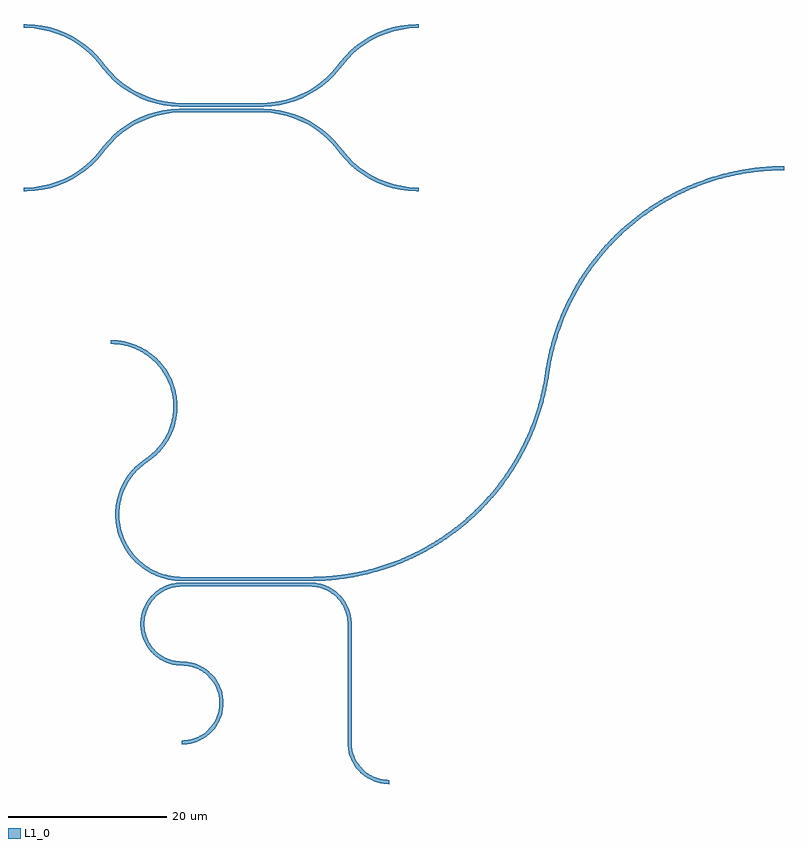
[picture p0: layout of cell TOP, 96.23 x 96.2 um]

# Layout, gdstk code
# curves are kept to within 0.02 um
from math import pi, radians
import gdstk
lib = gdstk.Library(unit=1e-6, precision=1e-09)
def P(c, l, *ps):  # polygons
    for p in ps: c.add(gdstk.Polygon(p, *l))
L1_0 = (1, 0)

input1 = lib.new_cell('input1')
input1.add(gdstk.FlexPath([(0,0),(0.068,0),(0.271,0.007),(0.473,0.022),(0.675,0.045),(0.876,0.077),(1.075,0.116),(1.272,0.164),(1.468,0.22),(1.661,0.283),(1.851,0.355),(2.038,0.434),(2.222,0.52),(2.402,0.614),(2.578,0.715),(2.75,0.824),(2.917,0.939),(3.08,1.061),(3.237,1.189),(3.389,1.323),(3.536,1.464),(3.677,1.611),(3.811,1.763),(3.939,1.92),(4.061,2.083),(4.176,2.25),(4.285,2.422),(4.386,2.598),(4.48,2.778),(4.566,2.962),(4.645,3.149),(4.717,3.339),(4.78,3.532),(4.836,3.728),(4.884,3.925),(4.923,4.124),(4.955,4.325),(4.978,4.527),(4.993,4.729),(5,4.932),(5,5),(5,5.068),(4.993,5.271),(4.978,5.473),(4.955,5.675),(4.923,5.876),(4.884,6.075),(4.836,6.272),(4.78,6.468),(4.717,6.661),(4.645,6.851),(4.566,7.038),(4.48,7.222),(4.386,7.402),(4.285,7.578),(4.176,7.75),(4.061,7.917),(3.939,8.08),(3.811,8.237),(3.677,8.389),(3.536,8.536),(3.389,8.677),(3.237,8.811),(3.08,8.939),(2.917,9.061),(2.75,9.176),(2.578,9.285),(2.402,9.386),(2.222,9.48),(2.038,9.566),(1.851,9.645),(1.661,9.717),(1.468,9.78),(1.272,9.836),(1.075,9.884),(0.876,9.923),(0.675,9.955),(0.473,9.978),(0.271,9.993),(0.068,10),(0,10),(-0.068,10),(-0.271,10.007),(-0.473,10.022),(-0.675,10.045),(-0.876,10.077),(-1.075,10.116),(-1.272,10.164),(-1.468,10.22),(-1.661,10.283),(-1.851,10.355),(-2.038,10.434),(-2.222,10.52),(-2.402,10.614),(-2.578,10.715),(-2.75,10.824),(-2.917,10.939),(-3.08,11.061),(-3.237,11.189),(-3.389,11.323),(-3.536,11.464),(-3.677,11.611),(-3.811,11.763),(-3.939,11.92),(-4.061,12.083),(-4.176,12.25),(-4.285,12.422),(-4.386,12.598),(-4.48,12.778),(-4.566,12.962),(-4.645,13.149),(-4.717,13.339),(-4.78,13.532),(-4.836,13.728),(-4.884,13.925),(-4.923,14.124),(-4.955,14.325),(-4.978,14.527),(-4.993,14.729),(-5,14.932),(-5,15),(-5,15.068),(-4.993,15.271),(-4.978,15.473),(-4.955,15.675),(-4.923,15.876),(-4.884,16.075),(-4.836,16.272),(-4.78,16.468),(-4.717,16.661),(-4.645,16.851),(-4.566,17.038),(-4.48,17.222),(-4.386,17.402),(-4.285,17.578),(-4.176,17.75),(-4.061,17.917),(-3.939,18.08),(-3.811,18.237),(-3.677,18.389),(-3.536,18.536),(-3.389,18.677),(-3.237,18.811),(-3.08,18.939),(-2.917,19.061),(-2.75,19.176),(-2.578,19.285),(-2.402,19.386),(-2.222,19.48),(-2.038,19.566),(-1.851,19.645),(-1.661,19.717),(-1.468,19.78),(-1.272,19.836),(-1.075,19.884),(-0.876,19.923),(-0.675,19.955),(-0.473,19.978),(-0.271,19.993),(-0.068,20),(0,20)], 0.5, ends="flush", simple_path=True, layer=1, datatype=0))  # L1_0

input2 = lib.new_cell('input2')
input2.add(gdstk.FlexPath([(-9,50.7),(-8.933,50.7),(-8.731,50.696),(-8.529,50.687),(-8.328,50.673),(-8.127,50.654),(-7.927,50.63),(-7.727,50.601),(-7.528,50.567),(-7.33,50.528),(-7.133,50.484),(-6.937,50.436),(-6.743,50.383),(-6.55,50.324),(-6.358,50.262),(-6.168,50.194),(-5.979,50.122),(-5.793,50.045),(-5.608,49.963),(-5.426,49.877),(-5.245,49.787),(-5.067,49.692),(-4.892,49.593),(-4.718,49.489),(-4.548,49.382),(-4.38,49.27),(-4.215,49.154),(-4.053,49.033),(-3.894,48.909),(-3.738,48.781),(-3.585,48.65),(-3.435,48.514),(-3.289,48.375),(-3.147,48.232),(-3.007,48.086),(-2.872,47.936),(-2.74,47.784),(-2.613,47.627),(-2.489,47.468),(-2.369,47.306),(-2.253,47.141),(-2.141,46.973),(-2.033,46.802),(-1.93,46.629),(-1.83,46.453),(-1.736,46.275),(-1.645,46.095),(-1.559,45.912),(-1.478,45.728),(-1.401,45.541),(-1.329,45.353),(-1.262,45.162),(-1.199,44.971),(-1.141,44.777),(-1.088,44.583),(-1.04,44.387),(-0.996,44.19),(-0.957,43.992),(-0.924,43.793),(-0.895,43.593),(-0.871,43.393),(-0.852,43.192),(-0.838,42.991),(-0.829,42.789),(-0.825,42.587),(-0.826,42.385),(-0.832,42.184),(-0.843,41.982),(-0.859,41.781),(-0.879,41.58),(-0.905,41.38),(-0.936,41.181),(-0.972,40.982),(-1.012,40.785),(-1.057,40.588),(-1.108,40.393),(-1.163,40.199),(-1.223,40.006),(-1.287,39.815),(-1.356,39.625),(-1.43,39.437),(-1.509,39.251),(-1.592,39.068),(-1.679,38.886),(-1.771,38.706),(-1.868,38.529),(-1.969,38.354),(-2.074,38.182),(-2.183,38.012),(-2.296,37.845),(-2.414,37.681),(-2.536,37.52),(-2.661,37.362),(-2.79,37.208),(-2.923,37.056),(-3.06,36.908),(-3.201,36.763),(-3.345,36.621),(-3.492,36.484),(-3.643,36.349),(-3.797,36.219),(-3.954,36.093),(-4.114,35.97),(-4.278,35.852),(-4.444,35.737),(-4.5,35.7),(-4.556,35.663),(-4.722,35.548),(-4.886,35.43),(-5.046,35.307),(-5.203,35.181),(-5.357,35.051),(-5.508,34.916),(-5.655,34.779),(-5.799,34.637),(-5.94,34.492),(-6.077,34.344),(-6.21,34.192),(-6.339,34.038),(-6.464,33.88),(-6.586,33.719),(-6.704,33.555),(-6.817,33.388),(-6.926,33.218),(-7.031,33.046),(-7.132,32.871),(-7.229,32.694),(-7.321,32.514),(-7.408,32.332),(-7.491,32.149),(-7.57,31.963),(-7.644,31.775),(-7.713,31.585),(-7.777,31.394),(-7.837,31.201),(-7.892,31.007),(-7.943,30.812),(-7.988,30.615),(-8.028,30.418),(-8.064,30.219),(-8.095,30.02),(-8.121,29.82),(-8.141,29.619),(-8.157,29.418),(-8.168,29.216),(-8.174,29.015),(-8.175,28.813),(-8.171,28.611),(-8.162,28.409),(-8.148,28.208),(-8.129,28.007),(-8.105,27.807),(-8.076,27.607),(-8.043,27.408),(-8.004,27.21),(-7.96,27.013),(-7.912,26.817),(-7.859,26.623),(-7.801,26.429),(-7.738,26.238),(-7.671,26.047),(-7.599,25.859),(-7.522,25.672),(-7.441,25.488),(-7.355,25.305),(-7.264,25.125),(-7.17,24.947),(-7.07,24.771),(-6.967,24.598),(-6.859,24.427),(-6.747,24.259),(-6.631,24.094),(-6.511,23.932),(-6.387,23.773),(-6.26,23.616),(-6.128,23.464),(-5.993,23.314),(-5.853,23.168),(-5.711,23.025),(-5.565,22.886),(-5.415,22.75),(-5.262,22.619),(-5.106,22.491),(-4.947,22.367),(-4.785,22.246),(-4.62,22.13),(-4.452,22.018),(-4.282,21.911),(-4.108,21.807),(-3.933,21.708),(-3.755,21.613),(-3.574,21.523),(-3.392,21.437),(-3.207,21.355),(-3.021,21.278),(-2.832,21.206),(-2.642,21.138),(-2.45,21.076),(-2.257,21.017),(-2.063,20.964),(-1.867,20.916),(-1.67,20.872),(-1.472,20.833),(-1.273,20.799),(-1.073,20.77),(-0.873,20.746),(-0.672,20.727),(-0.471,20.713),(-0.269,20.704),(-0.067,20.7),(0,20.7)], 0.5, ends="flush", simple_path=True, layer=1, datatype=0))  # L1_0

output1 = lib.new_cell('output1')
output1.add(gdstk.FlexPath([(26.23,-5),(26.162,-5),(25.959,-4.993),(25.757,-4.978),(25.555,-4.955),(25.354,-4.923),(25.155,-4.884),(24.958,-4.836),(24.762,-4.78),(24.569,-4.717),(24.379,-4.645),(24.192,-4.566),(24.008,-4.48),(23.828,-4.386),(23.652,-4.285),(23.48,-4.176),(23.313,-4.061),(23.15,-3.939),(22.993,-3.811),(22.841,-3.677),(22.694,-3.536),(22.553,-3.389),(22.419,-3.237),(22.291,-3.08),(22.169,-2.917),(22.054,-2.75),(21.945,-2.578),(21.844,-2.402),(21.75,-2.222),(21.664,-2.038),(21.585,-1.851),(21.513,-1.661),(21.45,-1.468),(21.394,-1.272),(21.346,-1.075),(21.307,-0.876),(21.275,-0.675),(21.252,-0.473),(21.237,-0.271),(21.23,-0.068),(21.23,0),(21.23,15),(21.23,15.068),(21.223,15.271),(21.208,15.473),(21.185,15.675),(21.153,15.876),(21.114,16.075),(21.066,16.272),(21.01,16.468),(20.947,16.661),(20.875,16.851),(20.796,17.038),(20.71,17.222),(20.616,17.402),(20.515,17.578),(20.406,17.75),(20.291,17.917),(20.169,18.08),(20.041,18.237),(19.907,18.389),(19.766,18.536),(19.619,18.677),(19.467,18.811),(19.31,18.939),(19.147,19.061),(18.98,19.176),(18.808,19.285),(18.632,19.386),(18.452,19.48),(18.268,19.566),(18.081,19.645),(17.891,19.717),(17.698,19.78),(17.502,19.836),(17.305,19.884),(17.106,19.923),(16.905,19.955),(16.703,19.978),(16.501,19.993),(16.298,20),(16.23,20)], 0.5, ends="flush", simple_path=True, layer=1, datatype=0))  # L1_0

output2 = lib.new_cell('output2')
output2.add(gdstk.FlexPath([(16.23,20.7),(16.297,20.7),(16.498,20.701),(16.698,20.704),(16.899,20.707),(17.1,20.712),(17.3,20.719),(17.501,20.727),(17.701,20.736),(17.902,20.746),(18.102,20.758),(18.302,20.771),(18.503,20.785),(18.703,20.801),(18.903,20.818),(19.102,20.836),(19.302,20.856),(19.502,20.877),(19.701,20.899),(19.901,20.923),(20.1,20.948),(20.299,20.974),(20.497,21.002),(20.696,21.031),(20.894,21.061),(21.093,21.093),(21.291,21.125),(21.488,21.16),(21.686,21.195),(21.883,21.232),(22.08,21.27),(22.277,21.309),(22.474,21.35),(22.67,21.392),(22.866,21.435),(23.062,21.48),(23.257,21.526),(23.452,21.573),(23.647,21.621),(23.841,21.671),(24.035,21.722),(24.229,21.775),(24.423,21.828),(24.616,21.883),(24.808,21.939),(25.001,21.997),(25.192,22.055),(25.384,22.115),(25.575,22.177),(25.766,22.239),(25.956,22.303),(26.146,22.368),(26.335,22.434),(26.524,22.502),(26.713,22.571),(26.901,22.641),(27.089,22.712),(27.276,22.784),(27.463,22.858),(27.649,22.933),(27.834,23.009),(28.019,23.087),(28.204,23.166),(28.388,23.246),(28.572,23.327),(28.755,23.409),(28.937,23.493),(29.119,23.577),(29.301,23.663),(29.481,23.75),(29.662,23.839),(29.841,23.928),(30.02,24.019),(30.199,24.111),(30.377,24.204),(30.554,24.298),(30.73,24.394),(30.906,24.49),(31.081,24.588),(31.256,24.687),(31.43,24.787),(31.603,24.888),(31.776,24.991),(31.948,25.094),(32.119,25.199),(32.29,25.305),(32.46,25.412),(32.629,25.52),(32.797,25.629),(32.965,25.739),(33.132,25.85),(33.298,25.963),(33.464,26.076),(33.628,26.191),(33.792,26.307),(33.955,26.424),(34.118,26.542),(34.279,26.661),(34.44,26.781),(34.6,26.902),(34.76,27.024),(34.918,27.147),(35.076,27.272),(35.232,27.397),(35.388,27.523),(35.543,27.651),(35.698,27.779),(35.851,27.908),(36.004,28.039),(36.155,28.17),(36.306,28.303),(36.456,28.436),(36.605,28.571),(36.753,28.706),(36.9,28.842),(37.047,28.98),(37.192,29.118),(37.337,29.257),(37.48,29.398),(37.623,29.539),(37.764,29.681),(37.905,29.824),(38.045,29.968),(38.184,30.113),(38.322,30.259),(38.459,30.406),(38.595,30.553),(38.73,30.702),(38.864,30.851),(38.997,31.002),(39.129,31.153),(39.259,31.305),(39.389,31.458),(39.518,31.612),(39.646,31.766),(39.773,31.922),(39.899,32.078),(40.024,32.235),(40.148,32.393),(40.271,32.552),(40.392,32.712),(40.513,32.872),(40.632,33.033),(40.751,33.195),(40.868,33.358),(40.985,33.521),(41.1,33.686),(41.214,33.851),(41.327,34.017),(41.439,34.183),(41.55,34.351),(41.66,34.519),(41.768,34.687),(41.876,34.857),(41.982,35.027),(42.088,35.198),(42.192,35.369),(42.295,35.542),(42.396,35.715),(42.497,35.888),(42.597,36.063),(42.695,36.237),(42.792,36.413),(42.888,36.589),(42.983,36.766),(43.077,36.944),(43.17,37.122),(43.261,37.3),(43.351,37.48),(43.44,37.66),(43.528,37.84),(43.614,38.021),(43.7,38.203),(43.784,38.385),(43.867,38.568),(43.949,38.751),(44.029,38.935),(44.109,39.119),(44.187,39.304),(44.264,39.489),(44.339,39.675),(44.414,39.862),(44.487,40.049),(44.559,40.236),(44.63,40.424),(44.699,40.612),(44.767,40.801),(44.834,40.99),(44.9,41.18),(44.964,41.37),(45.028,41.56),(45.09,41.751),(45.15,41.942),(45.21,42.134),(45.268,42.326),(45.325,42.519),(45.38,42.712),(45.435,42.905),(45.488,43.098),(45.539,43.292),(45.59,43.487),(45.639,43.681),(45.687,43.876),(45.733,44.071),(45.779,44.267),(45.823,44.463),(45.865,44.659),(45.907,44.855),(45.947,45.052),(45.986,45.249),(46.023,45.446),(46.059,45.643),(46.094,45.841),(46.128,46.039),(46.16,46.237),(46.191,46.435),(46.22,46.634),(46.23,46.7),(46.24,46.766),(46.269,46.965),(46.3,47.163),(46.332,47.361),(46.366,47.559),(46.401,47.757),(46.437,47.954),(46.474,48.151),(46.513,48.348),(46.553,48.545),(46.595,48.741),(46.637,48.937),(46.681,49.133),(46.727,49.329),(46.773,49.524),(46.821,49.719),(46.87,49.913),(46.921,50.108),(46.972,50.302),(47.025,50.495),(47.08,50.688),(47.135,50.881),(47.192,51.074),(47.25,51.266),(47.31,51.458),(47.37,51.649),(47.432,51.84),(47.496,52.03),(47.56,52.22),(47.626,52.41),(47.693,52.599),(47.761,52.788),(47.83,52.976),(47.901,53.164),(47.973,53.351),(48.046,53.538),(48.121,53.725),(48.196,53.911),(48.273,54.096),(48.351,54.281),(48.431,54.465),(48.511,54.649),(48.593,54.832),(48.676,55.015),(48.76,55.197),(48.846,55.379),(48.932,55.56),(49.02,55.74),(49.109,55.92),(49.199,56.1),(49.29,56.278),(49.383,56.456),(49.477,56.634),(49.572,56.811),(49.668,56.987),(49.765,57.163),(49.863,57.337),(49.963,57.512),(50.064,57.685),(50.165,57.858),(50.268,58.031),(50.372,58.202),(50.478,58.373),(50.584,58.543),(50.692,58.713),(50.8,58.881),(50.91,59.049),(51.021,59.217),(51.133,59.383),(51.246,59.549),(51.36,59.714),(51.475,59.879),(51.592,60.042),(51.709,60.205),(51.828,60.367),(51.947,60.528),(52.068,60.688),(52.189,60.848),(52.312,61.007),(52.436,61.165),(52.561,61.322),(52.687,61.478),(52.814,61.634),(52.942,61.788),(53.071,61.942),(53.201,62.095),(53.331,62.247),(53.463,62.398),(53.596,62.549),(53.73,62.698),(53.865,62.847),(54.001,62.994),(54.138,63.141),(54.276,63.287),(54.415,63.432),(54.555,63.576),(54.696,63.719),(54.837,63.861),(54.98,64.002),(55.123,64.143),(55.268,64.282),(55.413,64.42),(55.56,64.558),(55.707,64.694),(55.855,64.829),(56.004,64.964),(56.154,65.097),(56.305,65.23),(56.456,65.361),(56.609,65.492),(56.762,65.621),(56.917,65.749),(57.072,65.877),(57.228,66.003),(57.384,66.128),(57.542,66.253),(57.7,66.376),(57.86,66.498),(58.02,66.619),(58.181,66.739),(58.342,66.858),(58.505,66.976),(58.668,67.093),(58.832,67.209),(58.996,67.324),(59.162,67.437),(59.328,67.55),(59.495,67.661),(59.663,67.771),(59.831,67.88),(60,67.988),(60.17,68.095),(60.341,68.201),(60.512,68.306),(60.684,68.409),(60.857,68.512),(61.03,68.613),(61.204,68.713),(61.379,68.812),(61.554,68.91),(61.73,69.006),(61.906,69.102),(62.083,69.196),(62.261,69.289),(62.44,69.381),(62.619,69.472),(62.798,69.561),(62.979,69.65),(63.159,69.737),(63.341,69.823),(63.523,69.907),(63.705,69.991),(63.888,70.073),(64.072,70.154),(64.256,70.234),(64.441,70.313),(64.626,70.391),(64.811,70.467),(64.997,70.542),(65.184,70.616),(65.371,70.688),(65.559,70.759),(65.747,70.829),(65.936,70.898),(66.125,70.966),(66.314,71.032),(66.504,71.097),(66.694,71.161),(66.885,71.223),(67.076,71.285),(67.268,71.345),(67.459,71.403),(67.652,71.461),(67.844,71.517),(68.037,71.572),(68.231,71.625),(68.425,71.678),(68.619,71.729),(68.813,71.779),(69.008,71.827),(69.203,71.874),(69.398,71.92),(69.594,71.965),(69.79,72.008),(69.986,72.05),(70.183,72.091),(70.38,72.13),(70.577,72.168),(70.774,72.205),(70.972,72.24),(71.169,72.275),(71.367,72.307),(71.566,72.339),(71.764,72.369),(71.963,72.398),(72.161,72.426),(72.36,72.452),(72.559,72.477),(72.759,72.501),(72.958,72.523),(73.158,72.544),(73.358,72.564),(73.557,72.582),(73.757,72.599),(73.957,72.615),(74.158,72.629),(74.358,72.642),(74.558,72.654),(74.759,72.664),(74.959,72.673),(75.16,72.681),(75.36,72.688),(75.561,72.693),(75.762,72.696),(75.962,72.699),(76.163,72.7),(76.23,72.7)], 0.5, ends="flush", simple_path=True, layer=1, datatype=0))  # L1_0

straight1 = lib.new_cell('straight1')
straight1.add(gdstk.FlexPath([(0,20),(16.23,20)], 0.5, ends="flush", simple_path=True, layer=1, datatype=0))  # L1_0

straight2 = lib.new_cell('straight2')
straight2.add(gdstk.FlexPath([(0,20.7),(16.23,20.7)], 0.5, ends="flush", simple_path=True, layer=1, datatype=0))  # L1_0

round_path = lib.new_cell('ROUND_PATH')
P(round_path, L1_0, [(0,-0.25),(0,0.25),(1.296,0.315),(2.26,0.456),(3.209,0.673),(4.138,0.965),(5.04,1.33),(5.911,1.766),(6.745,2.269),(7.536,2.837),(8.279,3.466),(8.971,4.152),(10.663,6.189),(11.382,6.903),(12.156,7.558),(12.98,8.149),(13.847,8.672),(14.754,9.126),(15.693,9.506),(16.66,9.81),(17.648,10.036),(18.651,10.183),(20,10.25),(20,9.75),(18.704,9.685),(17.74,9.544),(16.791,9.327),(15.862,9.035),(14.96,8.67),(14.089,8.234),(13.255,7.731),(12.464,7.163),(11.721,6.534),(11.029,5.848),(9.337,3.811),(8.618,3.097),(7.844,2.442),(7.02,1.851),(6.153,1.328),(5.246,0.874),(4.307,0.494),(3.34,0.19),(2.352,-0.036),(1.349,-0.183)])

straight_bottom = lib.new_cell('straight_bottom')
straight_bottom.add(gdstk.FlexPath([(20,10),(30,10)], 0.5, ends="flush", simple_path=True, layer=1, datatype=0))  # L1_0

straight_top = lib.new_cell('straight_top')
straight_top.add(gdstk.FlexPath([(20,10.7),(30,10.7)], 0.5, ends="flush", simple_path=True, layer=1, datatype=0))  # L1_0

c_dc = lib.new_cell('dc')
c_dc.add(gdstk.Reference(round_path, (0,0)))
c_dc.add(gdstk.Reference(round_path, (0,20.7), x_reflection=True))
c_dc.add(gdstk.Reference(round_path, (50,0), rotation=pi, x_reflection=True))
c_dc.add(gdstk.Reference(round_path, (30,10.7)))
c_dc.add(gdstk.Reference(straight_bottom, (0,0)))
c_dc.add(gdstk.Reference(straight_top, (0,0)))

top = lib.new_cell('TOP')
top.add(gdstk.Reference(input1, (0,0)))
top.add(gdstk.Reference(input2, (0,0)))
top.add(gdstk.Reference(output1, (0,0)))
top.add(gdstk.Reference(output2, (0,0)))
top.add(gdstk.Reference(straight1, (0,0)))
top.add(gdstk.Reference(straight2, (0,0)))
top.add(gdstk.Reference(c_dc, (-20,70)))

lib.write_gds('TOP.gds')
